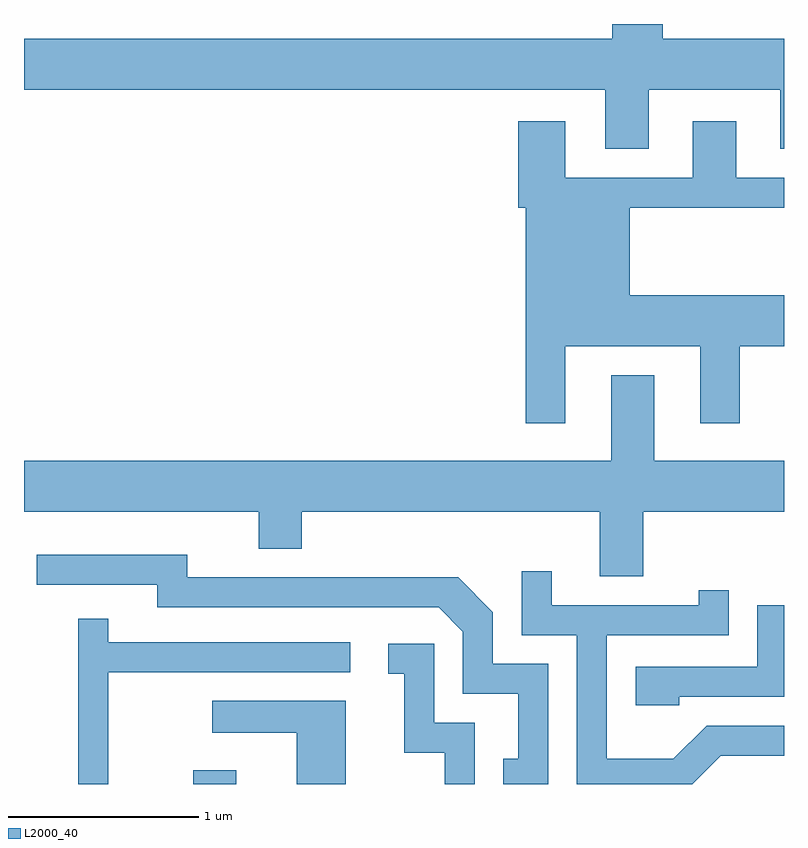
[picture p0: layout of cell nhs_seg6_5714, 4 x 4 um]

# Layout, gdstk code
import gdstk
lib = gdstk.Library(unit=1e-6, precision=1e-09)
def R(c, l, rs):  # rectangles x0, y0, x1, y1
    for r in rs: c.add(gdstk.rectangle(r[:2], r[2:], *l))
def P(c, l, *ps):  # polygons
    for p in ps: c.add(gdstk.Polygon(p, *l))
L2000_40 = (2000, 40)

nhs_seg6_5714 = lib.new_cell('nhs_seg6_5714')
R(nhs_seg6_5714, L2000_40, [(360.501,1544.162,360.729,1544.234)])
P(nhs_seg6_5714, L2000_40, [(362.899,1547.816),(363.591,1547.816),(363.591,1547.506),(363.611,1547.506),(363.611,1548.084),(362.974,1548.084),(362.974,1548.162),(362.706,1548.162),(362.706,1548.084),(359.611,1548.084),(359.611,1547.816),(362.671,1547.816),(362.671,1547.506),(362.899,1547.506)],
  [(362.459,1546.466),(363.171,1546.466),(363.171,1546.061),(363.379,1546.061),(363.379,1546.466),(363.611,1546.466),(363.611,1546.734),(362.799,1546.734),(362.799,1547.196),(363.611,1547.196),(363.611,1547.354),(363.359,1547.354),(363.359,1547.649),(363.131,1547.649),(363.131,1547.354),(362.459,1547.354),(362.459,1547.649),(362.211,1547.649),(362.211,1547.196),(362.251,1547.196),(362.251,1546.061),(362.459,1546.061)],
  [(362.869,1545.596),(363.611,1545.596),(363.611,1545.864),(362.929,1545.864),(362.929,1546.314),(362.701,1546.314),(362.701,1545.864),(359.611,1545.864),(359.611,1545.596),(360.846,1545.596),(360.846,1545.401),(361.074,1545.401),(361.074,1545.596),(362.641,1545.596),(362.641,1545.256),(362.869,1545.256)],
  [(362.369,1544.794),(362.079,1544.794),(362.079,1545.067),(361.897,1545.249),(360.469,1545.249),(360.469,1545.369),(359.678,1545.369),(359.678,1545.211),(360.311,1545.211),(360.311,1545.091),(361.794,1545.091),(361.921,1544.964),(361.921,1544.636),(362.211,1544.636),(362.211,1544.294),(362.133,1544.294),(362.133,1544.162),(362.369,1544.162)],
  [(363.277,1544.311),(363.611,1544.311),(363.611,1544.469),(363.204,1544.469),(363.029,1544.294),(362.679,1544.294),(362.679,1544.946),(363.319,1544.946),(363.319,1545.183),(363.161,1545.183),(363.161,1545.104),(362.389,1545.104),(362.389,1545.283),(362.231,1545.283),(362.231,1544.946),(362.521,1544.946),(362.521,1544.162),(363.128,1544.162)],
  [(363.059,1544.621),(363.611,1544.621),(363.611,1545.104),(363.471,1545.104),(363.471,1544.779),(362.831,1544.779),(362.831,1544.576),(363.059,1544.576)],
  [(360.054,1544.751),(361.328,1544.751),(361.328,1544.909),(360.054,1544.909),(360.054,1545.033),(359.896,1545.033),(359.896,1544.162),(360.054,1544.162)],
  [(361.984,1544.484),(361.769,1544.484),(361.769,1544.899),(361.528,1544.899),(361.528,1544.741),(361.611,1544.741),(361.611,1544.326),(361.826,1544.326),(361.826,1544.162),(361.984,1544.162)],
  [(361.304,1544.599),(360.603,1544.599),(360.603,1544.431),(361.046,1544.431),(361.046,1544.162),(361.304,1544.162)])

lib.write_gds('nhs_seg6_5714.gds')
